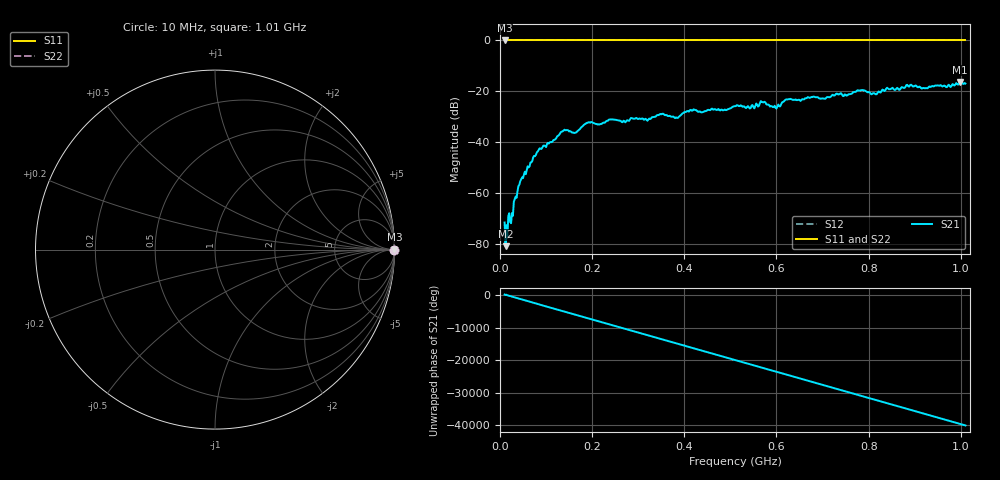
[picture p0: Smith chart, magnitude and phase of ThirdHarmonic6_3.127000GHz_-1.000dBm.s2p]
! 8/17/2025 9:17:55 AM
! C:\ANRITSUVNA\TEMP\TEMP.S2P
! CHANNEL.1
! TR.MEASUREMENT
! RAW.DATA
! RF.CORRECTION.OFF
! AVERAGING.OFF
! IF.BANDWIDTH: 5KHZ
! SWEEPTYPE:  FREQ.SWEEP(Linear)
! Reference Plane Port Info
! PORT:  PORT1  PORT2
! DISTANCE:  0  m  0  m
! TIME:  0  s  0  s
! PHASE.OFFSET:  0  deg.  0  deg.
! LOSS:  0  dB  0  dB
! REF.LOSS:  0  dB  0  dB
! REF.FREQ:  0  Hz  0  Hz
! Power Info
! POWER:  -20  dBm  -20  dBm
! EFF.POWER:  -20  dBm  -20  dBm
! SOURCE.ATTEN:  0  dB  0  dB
! TEST.ATTEN:  0  dB  0  dB
# GHZ S RI R 50.0
! FREQ.GHZ  S11RE  S11IM  S21RE  S21IM  S12RE  S12IM  S22RE  S22IM
!; PortSelection: Port_12
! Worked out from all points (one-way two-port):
!   501 points, 10 MHz to 1.01 GHz, reference 50 ohm
!   highest |S21| = -16.25 dB at 998 MHz (marker M1); lowest = -80.7 dB at 12 MHz (marker M2)
!   lowest |S11| = 0.0 dB at 10 MHz (marker M3)
!   |S11| at or under -10 dB: nowhere
!   |S22| runs from 0.0 to 0.0 dB; largest |S21 - S12| = 1.1
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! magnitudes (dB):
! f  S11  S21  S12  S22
! 10 MHz  0.0  -71.4  0.0  0.0
! 12 MHz  0.0  -80.7  0.0  0.0
! 26 MHz  0.0  -67.7  0.0  0.0
! 44 MHz  0.0  -55.2  0.0  0.0
! 82 MHz  0.0  -43.5  0.0  0.0
! 136 MHz  0.0  -35.6  0.0  0.0
! 162 MHz  0.0  -36.3  0.0  0.0
! 178 MHz  0.0  -33.8  0.0  0.0
! 344 MHz  0.0  -29.3  0.0  0.0
! 384 MHz  0.0  -30.3  0.0  0.0
! 416 MHz  0.0  -27.5  0.0  0.0
! 510 MHz  0.0  -25.8  0.0  0.0
! 548 MHz  0.0  -25.3  0.0  0.0
! 570 MHz  0.0  -24.2  0.0  0.0
! 596 MHz  0.0  -25.6  0.0  0.0
! 622 MHz  0.0  -23.1  0.0  0.0
! 678 MHz  0.0  -22.2  0.0  0.0
! 784 MHz  0.0  -19.5  0.0  0.0
! 814 MHz  0.0  -21.0  0.0  0.0
! 844 MHz  0.0  -19.1  0.0  0.0
! 998 MHz  0.0  -16.2  0.0  0.0
! 1.01 GHz  0.0  -16.9  0.0  0.0
